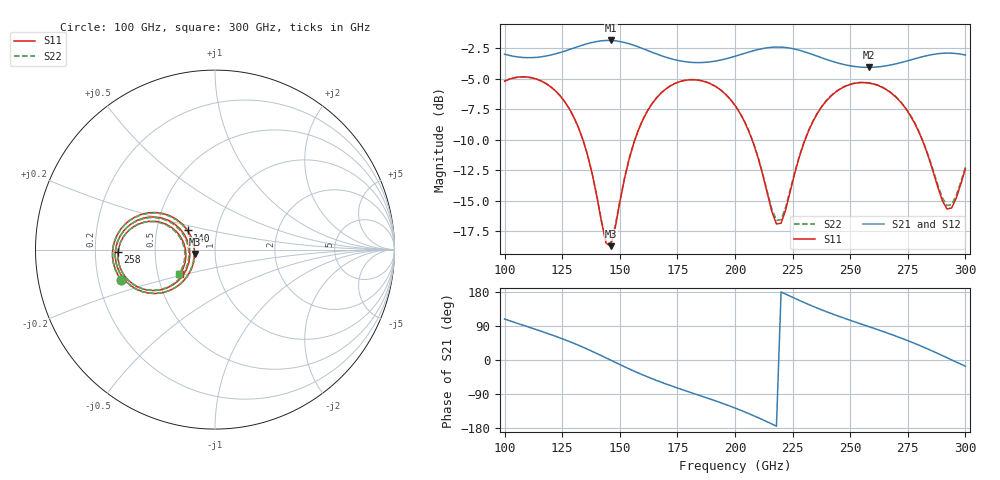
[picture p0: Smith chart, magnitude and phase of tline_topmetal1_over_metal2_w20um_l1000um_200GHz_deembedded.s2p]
! Created with skrf 2.2.0 (http://scikit-rf.org).
# GHz S DB R 50.0
! Port[1] = P1
! Port[2] = P2
!freq dBS11 angS11 dBS21 angS21 dBS12 angS12 dBS22 angS22
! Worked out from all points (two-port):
!   101 points, 100 GHz to 300 GHz, reference 50 ohm
!   highest |S21| = -1.87 dB at 146 GHz (marker M1); lowest = -4.1 dB at 258 GHz (marker M2)
!   |S21| within 3 dB of the highest: start of sweep to end of sweep
!   lowest |S11| = -18.7 dB at 146 GHz (marker M3), VSWR 1.26, Z = 39.8 - j1.93 ohm
!   |S11| at or under -10 dB: 134 GHz to 156.6 GHz (22.63 GHz wide, 15.6 % of centre); 207.4 GHz to 230.5 GHz (23.06 GHz wide, 10.5 % of centre); 281.2 GHz to end of sweep
!   |S22| runs from -18.5 to -4.8 dB; largest |S21 - S12| = 1.2e-13
!   S11 on the Smith chart (normalised r, x): 100 GHz: 0.30, -0.14; 140 GHz: 0.72, +0.16; 258 GHz: 0.30, -0.01; 300 GHz: 0.65, -0.19
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100  -5.20 -162.1  -3.00 108.2  -3.00 108.2  -5.20 -162.0
116  -5.20 170.9  -3.21 75.6  -3.21 75.6  -5.20 171.2
126  -6.86 154.4  -2.74 53.8  -2.74 53.8  -6.86 154.7
134  -10.01 143.2  -2.24 33.8  -2.24 33.8  -10.00 143.8
140  -14.62 144.9  -1.95 17.2  -1.95 17.2  -14.56 145.8
144  -18.47 169.3  -1.87 5.6  -1.87 5.6  -18.27 170.0
146  -18.73 -168.1  -1.87 -0.2  -1.87 -0.2  -18.51 -168.0
156  -10.32 -136.1  -2.26 -28.8  -2.26 -28.8  -10.28 -136.4
168  -6.16 -153.5  -3.11 -58.6  -3.11 -58.6  -6.15 -153.5
184  -5.12 -179.2  -3.68 -92.3  -3.68 -92.3  -5.11 -179.0
200  -7.19 156.4  -3.16 -126.8  -3.16 -126.8  -7.17 156.9
208  -10.30 147.9  -2.71 -146.7  -2.71 -146.7  -10.25 148.7
218  -16.91 176.6  -2.41 -174.6  -2.41 -174.6  -16.62 177.1
220  -16.84 -166.9  -2.41 179.7  -2.41 179.7  -16.55 -167.1
226  -12.71 -141.0  -2.58 162.6  -2.58 162.6  -12.59 -141.8
234  -8.44 -143.6  -3.04 141.3  -3.04 141.3  -8.40 -144.1
244  -6.05 -157.6  -3.68 117.7  -3.68 117.7  -6.03 -157.8
258  -5.35 -178.5  -4.07 88.3  -4.07 88.3  -5.34 -178.5
268  -6.20 167.0  -3.86 67.1  -3.86 67.1  -6.18 167.2
280  -9.45 153.3  -3.27 38.7  -3.27 38.7  -9.39 153.8
292  -15.68 179.7  -2.90 6.0  -2.90 6.0  -15.39 179.8
300  -12.40 -144.9  -3.06 -16.4  -3.06 -16.4  -12.26 -145.9
